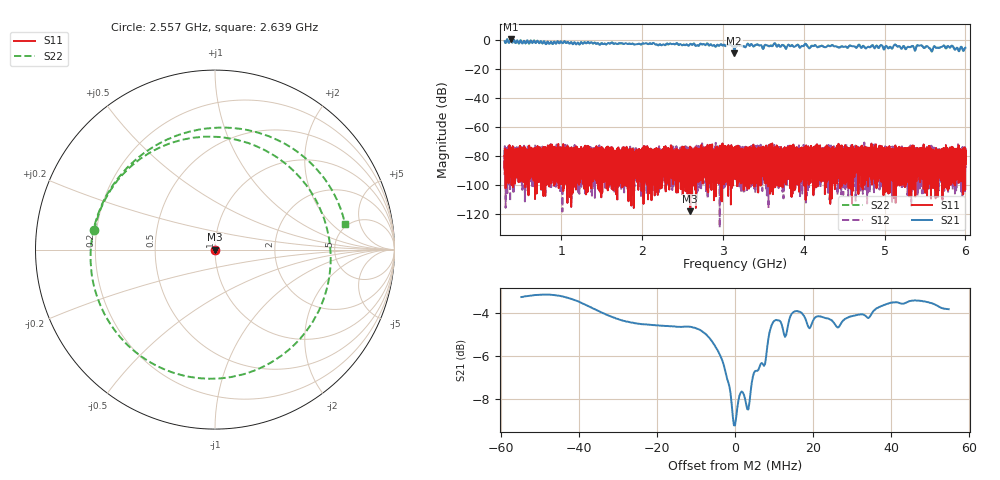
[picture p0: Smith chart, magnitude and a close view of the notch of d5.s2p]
!Agilent Technologies,N5230C,SG49000117,A.08.50.07
!Agilent N5230C: A.08.50.07
!Date: Monday, March 18, 2024 18:56:19
!Correction: S11(Off)
!S21(Off)
!S12(Off)
!S22(Off)
!S2P File: Measurements: S11, S21, S12, S22:
# Hz S  RI  R 50
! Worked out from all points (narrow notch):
!   20001 points, 300 MHz to 6 GHz, reference 50 ohm
!   highest |S21| = 0.43 dB at 373.5 MHz (marker M1); lowest = -9.2 dB at 3.141 GHz (marker M2)
!   notch at M2: 5.5 dB deep, 9.15 MHz wide at half that depth
!   lowest |S11| = -118.1 dB at 2.597 GHz (marker M3), VSWR 1.00, Z = 50 + j0.000117 ohm
!   |S11| at or under -10 dB: start of sweep to end of sweep
!   |S22| runs from -9.2 to 0.5 dB; largest |S21 - S12| = 1.1
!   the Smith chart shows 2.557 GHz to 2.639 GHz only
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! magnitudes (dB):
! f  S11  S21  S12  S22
! 300 MHz  -89.5  -1.0  -89.5  -1.0
! 373.5 MHz  -76.9  0.4  -82.8  0.5
! 1.25 GHz  -84.8  -1.8  -88.4  -1.8
! 2.2 GHz  -80.5  -3.9  -79.2  -3.9
! 2.597 GHz  -118.1  -2.8  -91.2  -2.8
! 3.077 GHz  -84.2  -3.5  -81.1  -3.5
! 3.141 GHz  -79.8  -9.2  -91.4  -9.2
! 3.15 GHz  -81.5  -4.5  -87.4  -4.5
! 3.33 GHz  -84.0  -4.2  -84.8  -4.1
! 3.485 GHz  -78.2  -4.7  -76.3  -4.7
! 3.634 GHz  -80.1  -2.6  -85.4  -2.5
! 3.774 GHz  -86.7  -5.7  -83.0  -5.6
! 4.017 GHz  -84.3  -2.9  -84.0  -2.8
! 4.1 GHz  -92.5  -4.2  -79.6  -4.1
! 5.05 GHz  -77.9  -5.8  -79.4  -5.8
! 5.138 GHz  -85.0  -3.5  -78.2  -3.5
! 5.372 GHz  -85.2  -7.2  -83.9  -7.2
! 5.432 GHz  -84.7  -4.0  -87.3  -4.0
! 5.574 GHz  -91.9  -7.1  -75.7  -7.1
! 5.72 GHz  -81.4  -4.5  -90.2  -4.5
! 5.898 GHz  -90.9  -5.5  -88.7  -5.6
! 6 GHz  -82.6  -5.4  -86.0  -5.5
